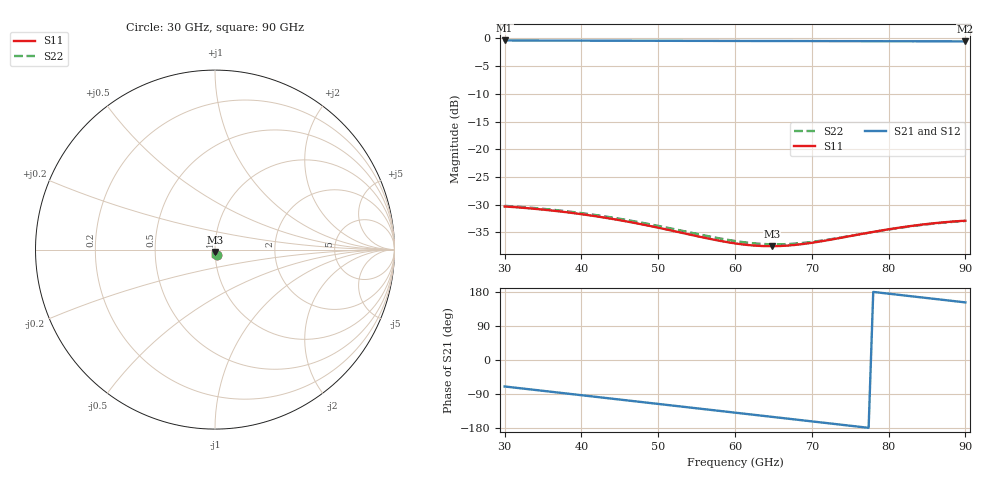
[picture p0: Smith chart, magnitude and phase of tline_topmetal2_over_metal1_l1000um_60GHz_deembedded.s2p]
! Created with skrf 2.2.0 (http://scikit-rf.org).
# GHz S DB R 50.0
! Port[1] = P1
! Port[2] = P2
!freq dBS11 angS11 dBS21 angS21 dBS12 angS12 dBS22 angS22
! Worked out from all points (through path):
!   101 points, 30 GHz to 90 GHz, reference 50 ohm
!   highest |S21| = -0.36 dB at 30 GHz (marker M1); lowest = -0.5 dB at 90 GHz (marker M2)
!   group delay of S21, straight-line fit = 6.39 ps
!   lowest |S11| = -37.5 dB at 64.8 GHz (marker M3), VSWR 1.03, Z = 49.8 - j1.32 ohm
!   |S11| at or under -10 dB: start of sweep to end of sweep
!   |S22| runs from -37.1 to -30.2 dB; largest |S21 - S12| = 1.1e-14
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30  -30.30 -72.2  -0.36 -69.9  -0.36 -69.9  -30.20 -72.2
33  -30.62 -79.6  -0.37 -76.8  -0.37 -76.8  -30.49 -79.6
35.4  -30.93 -85.1  -0.38 -82.3  -0.38 -82.3  -30.78 -85.1
37.8  -31.30 -90.3  -0.39 -87.8  -0.39 -87.8  -31.13 -90.3
40.2  -31.73 -95.1  -0.40 -93.4  -0.40 -93.4  -31.54 -95.1
42.6  -32.23 -99.4  -0.40 -98.9  -0.40 -98.9  -32.00 -99.5
45  -32.79 -103.2  -0.41 -104.4  -0.41 -104.4  -32.53 -103.3
47.4  -33.40 -106.4  -0.42 -109.9  -0.42 -109.9  -33.11 -106.5
50.4  -34.25 -109.1  -0.42 -116.8  -0.42 -116.8  -33.92 -109.5
55.2  -35.70 -110.1  -0.44 -127.9  -0.44 -127.9  -35.30 -111.0
60  -36.96 -105.8  -0.45 -138.9  -0.45 -138.9  -36.53 -107.7
62.4  -37.34 -101.9  -0.46 -144.5  -0.46 -144.5  -36.94 -104.2
64.8  -37.47 -97.3  -0.46 -150.0  -0.46 -150.0  -37.13 -100.1
67.2  -37.32 -92.8  -0.47 -155.5  -0.47 -155.5  -37.06 -95.8
70.2  -36.81 -88.2  -0.47 -162.4  -0.47 -162.4  -36.66 -91.3
73.2  -36.11 -85.5  -0.48 -169.3  -0.48 -169.3  -36.04 -88.4
75.6  -35.49 -84.7  -0.49 -174.8  -0.49 -174.8  -35.48 -87.3
78  -34.89 -85.0  -0.49 179.6  -0.49 179.6  -34.91 -87.3
80.4  -34.34 -86.1  -0.50 174.1  -0.50 174.1  -34.38 -88.1
82.8  -33.85 -87.8  -0.51 168.6  -0.51 168.6  -33.90 -89.6
85.2  -33.44 -90.1  -0.51 163.1  -0.51 163.1  -33.50 -91.6
90  -32.87 -95.7  -0.53 152.0  -0.53 152.0  -32.92 -96.7
